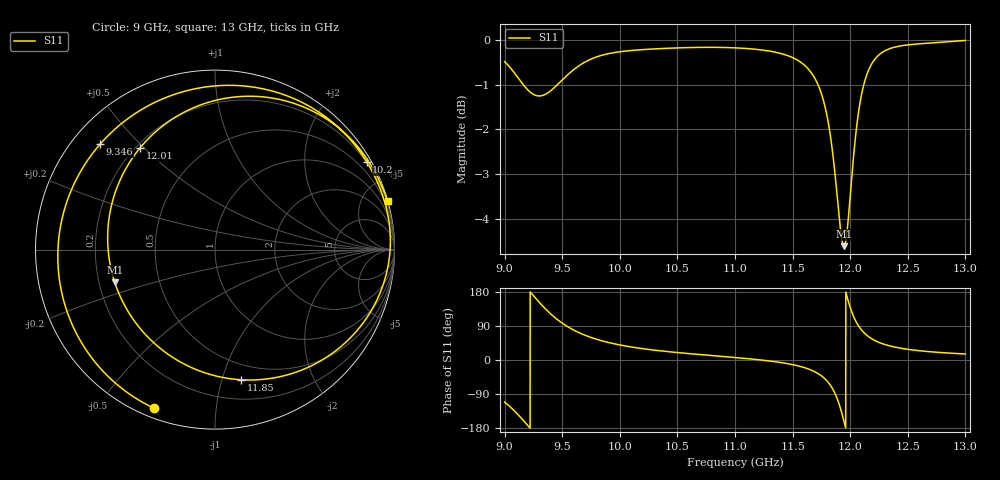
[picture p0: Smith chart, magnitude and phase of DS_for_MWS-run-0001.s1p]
! TOUCHSTONE file generated by CST DESIGN STUDIO
! Date and time: Tue Feb  4 13:55:37 2025
! Project name: C:\Work\MatlabApps\UnitCellOptimizationMatlab\CST\unitcell.cst
! Tree item: Tasks\Sweep1\SPara1\S-Parameters
! Header version: 2024
! Port assignment regex: !\s*Touchstone port\s*([0-9]+)\s*=\s*(CST MWS port|CST DES external port|CST DES block port)\s*(.+)\s* \(\"(.*)\"\)(\s*mode\s*([0-9]+))?.*
! Touchstone port assignment:
! Touchstone port 1 = CST DES external port 1 ("")
# GHz S MA R 50
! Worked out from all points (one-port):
!   4001 points, 9 GHz to 13 GHz, reference 50 ohm
!   lowest |S11| = -4.6 dB at 11.95 GHz (marker M1), VSWR 3.85, Z = 13.3 - j7.42 ohm
!   |S11| at or under -10 dB: nowhere
!   S11 on the Smith chart (normalised r, x): 9 GHz: 0.04, -0.69; 9.346 GHz: 0.08, +0.39; 10.2 GHz: 0.18, +3.72; 11.85 GHz: 0.36, -1.16; 12.01 GHz: 0.22, +0.48; 13 GHz: 0.01, +7.20
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9  0.9465 -111.0
9.088  0.9182 -135.1
9.188  0.8836 -168.3
9.262  0.8682 165.6
9.346  0.8689 137.5
9.42  0.8823 116.2
9.5  0.9026 97.3
9.724  0.9493 62.4
10  0.9709 39.7
10.196  0.9763 30.1
10.5  0.9806 19.6
11  0.9808 6.6
11.5  0.9564 -12.1
11.723  0.8901 -36.2
11.793  0.8297 -53.5
11.852  0.74 -78.5
11.9  0.642 -112.9
11.946  0.5877 -161.9
11.972  0.6094 167.7
12  0.6685 138.7
12.014  0.7037 126.5
12.046  0.7799 104.0
12.081  0.8447 86.2
12.134  0.9069 67.9
12.194  0.9444 54.7
12.315  0.9753 39.6
12.5  0.9883 28.2
13  0.9996 15.8
